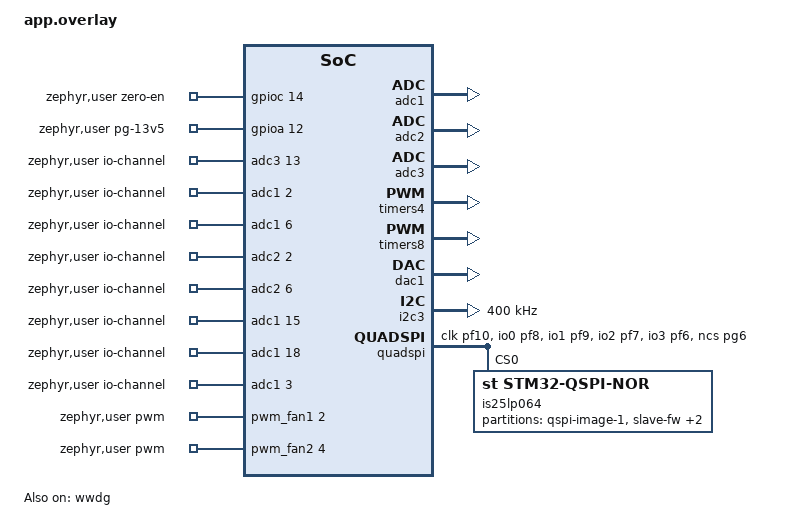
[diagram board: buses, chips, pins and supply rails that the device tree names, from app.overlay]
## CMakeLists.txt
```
cmake_minimum_required(VERSION 3.20.0)

# Custom board target (cioszhong_psu) lives in <app>/boards — register the
# application directory as a board root so
#   west build -b cioszhong_psu/stm32h745xx/m7
# finds it without passing -DBOARD_ROOT manually. A user-provided
# -DBOARD_ROOT on the command line still takes precedence.
if(NOT DEFINED BOARD_ROOT)
	set(BOARD_ROOT ${CMAKE_CURRENT_SOURCE_DIR} CACHE STRING "Board root for custom boards")
endif()

find_package(Zephyr REQUIRED HINTS $ENV{ZEPHYR_BASE})
project(CiosZhong_psu)

# Firmware version - read from Kconfig.project so the build log can never
# disagree with the version compiled into the app (and signed into the image).
file(STRINGS "${CMAKE_CURRENT_SOURCE_DIR}/Kconfig.project" _kcfg)
set(CIOS_ZHONG_FW_VERSION "")
set(_grab FALSE)
foreach(_line IN LISTS _kcfg)
	if(_line MATCHES "^config CIOS_ZHONG_FW_VERSION")
		set(_grab TRUE)
	elseif(_grab AND _line MATCHES "^[ \t]*default[ \t]+\"([^\"]+)\"")
		set(CIOS_ZHONG_FW_VERSION "${CMAKE_MATCH_1}")
		break()
	endif()
endforeach()
if(CIOS_ZHONG_FW_VERSION STREQUAL "")
	message(FATAL_ERROR "cannot read CIOS_ZHONG_FW_VERSION from Kconfig.project")
endif()
message(STATUS "Firmware version: ${CIOS_ZHONG_FW_VERSION}")

# Application modules
add_subdirectory(src/main)
add_subdirectory(src/state_machine)
add_subdirectory(src/sensor)
add_subdirectory(src/terminal)
add_subdirectory(src/ac_meter)
add_subdirectory(src/scheduler)
add_subdirectory(src/external)
add_subdirectory(src/candriver)
add_subdirectory(src/objdic)
add_subdirectory(src/canopen)

# Board support package (hardware driver wrappers)
add_subdirectory(src/bsp ${CMAKE_CURRENT_BINARY_DIR}/bsp)

# Application modules
add_subdirectory(src/indicator)
```

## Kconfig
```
# CiosZhong Application Kconfig — Zephyr base + project options
source "Kconfig.zephyr"
rsource "Kconfig.project"
```

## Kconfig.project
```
# cios-zhong — project-specific configuration options

config CIOS_ZHONG_FW_VERSION
	string "Firmware version"
	default "0.3.0"
	help
	  Firmware version string in MAJOR.MINOR.PATCH format.
	  Displayed on boot and available via status queries.

config CIOS_ZHONG_BOOT_VERSION
	string "Bootloader (MCUboot) version"
	default "1.0.0"
	help
	  Version string of the MCUboot bootloader this firmware is released
	  with. Displayed on boot and available via the 'info' command so the
	  boot/app pair on a board can be identified at a glance.

config CIOS_ZHONG_BRINGUP
	bool "Minimal bring-up test (LED blink only, watchdogs disabled)"
	default y
	help
	  When enabled, main() only initializes GPIO/LEDs and blinks them,
	  disabling the state machine, WWDG and other subsystems so a fresh
	  board can be verified without the risk of watchdog deadlock.
	  Set to n for the full PSU application.

config CIOS_ZHONG_CANOPEN_NODE_ID
	int "CANopen node ID"
	range 1 127
	default 1
	help
	  CANopen 节点号（1..127）。0 保留给广播，128..255 非法。
	  由 getNodeId() 提供给协议栈（application/src/main/usr_301.c）。
```

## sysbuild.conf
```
# CiosZhong — sysbuild configuration (no MCUboot bootloader)
```

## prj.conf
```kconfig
# CiosZhong PSU — minimal application configuration (no MCUboot, no Ethernet)
# Booted by MCUboot from slot0; image is signed and has the MCUboot header
CONFIG_BOOTLOADER_MCUBOOT=y
# Full application mode (LED blink bring-up is disabled):
#   CONFIG_CIOS_ZHONG_BRINGUP=n restores state machine / sensors / uart_cmd
CONFIG_CIOS_ZHONG_BRINGUP=n
CONFIG_CONSOLE=y
CONFIG_SERIAL=y
CONFIG_PRINTK=y
# Interrupt-driven UART - required by the uart_cmd host command service
CONFIG_UART_INTERRUPT_DRIVEN=y
CONFIG_FLASH=y
CONFIG_FLASH_MAP=y
CONFIG_REBOOT=y
CONFIG_STM32H7_BOOT_M4_AT_INIT=n
CONFIG_INIT_ARCH_HW_AT_BOOT=y
CONFIG_HEAP_MEM_POOL_SIZE=32768
# Keep caches disabled — soc_early_init_hook() enables them but
# without MPU configured yet, Cortex-M7 D-Cache causes boot crash
CONFIG_ICACHE=n
CONFIG_DCACHE=n
CONFIG_MAIN_STACK_SIZE=32768
CONFIG_SYSTEM_WORKQUEUE_STACK_SIZE=4096

# ================= CAN bus / CANopen =================
# CANopen 协议栈(canopen/ + candriver/ + objdic/)随应用一起编译，但默认不启动
# —— 板上没有 CAN 收发器；接上收发器后取消 main.c 里 canopenInit()/flushmbxStart() 的注释。
CONFIG_CAN=y
# CANopen 节点号 1..127（台架自检用运行时命令: can loopback / can normal）
CONFIG_CIOS_ZHONG_CANOPEN_NODE_ID=1

# ================= Networking (Ethernet, basic ping) =================
# Ethernet MAC + RMII PHY (see board dts: &mac / &mdio). The board answers
# ICMP echo requests (ICMPv4 is compiled with NET_IPV4).
CONFIG_NETWORKING=y
CONFIG_NET_IPV4=y
CONFIG_NET_L2_ETHERNET=y
CONFIG_NET_STATISTICS=y
CONFIG_NET_LOG=y
# Static IPv4 for bench bring-up (change to your subnet, or enable DHCP)
# AUTO_INIT is OFF: net_config_init_app() runs at the APPLICATION init level
# (before main) and waits up to INIT_TIMEOUT for the iface to come up, which
# blocks boot and trips the external watchdog while Ethernet is being brought
# up. Re-enable once the link works, or bring the IP up from main().
CONFIG_NET_CONFIG_SETTINGS=y
CONFIG_NET_CONFIG_AUTO_INIT=n
CONFIG_NET_CONFIG_MY_IPV4_ADDR="192.168.1.100"
CONFIG_NET_CONFIG_MY_IPV4_NETMASK="255.255.255.0"
CONFIG_NET_CONFIG_MY_IPV4_GW="192.168.1.1"
# Network buffers
CONFIG_NET_PKT_RX_COUNT=16
CONFIG_NET_PKT_TX_COUNT=16
CONFIG_NET_BUF_RX_COUNT=32
CONFIG_NET_BUF_TX_COUNT=32
CONFIG_NET_MAX_CONTEXTS=10
# Entropy source (STM32 RNG) - used by sys_rand_get() for IPv6 / MAC setup
CONFIG_ENTROPY_GENERATOR=y

# GPIO (LED control)
CONFIG_GPIO=y

# NOTE: Zephyr 4.x GPIO callback/EXTI API (gpio_pin_interrupt_configure_dt,
# gpio_add_callback) is always compiled in — no CONFIG_GPIO_INTERRUPT symbol.
# The zero_en zero-crossing input (acmeter) uses it directly.


# Watchdog
CONFIG_WATCHDOG=y

# PWM (fan control)
CONFIG_PWM=y

# ADC (analog inputs)
CONFIG_ADC=y

# DAC (analog outputs)
CONFIG_DAC=y

# JSON
CONFIG_JSON_LIBRARY=y

# Logging
CONFIG_LOG=y

# ================= I2C drivers =================
# TMP75 temperature sensor on I2C1; I2C3 hosts the TPS25762 (host iface TBD)
CONFIG_I2C=y

# DFU: provides boot_request_upgrade() (MCUboot swap request)
CONFIG_MCUBOOT_IMG_MANAGER=y

# STREAM_FLASH: required by IMG_MANAGER
CONFIG_STREAM_FLASH=y
CONFIG_IMG_MANAGER=y
```

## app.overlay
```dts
/ {
	chosen {
		zephyr,code-partition = &slot0_partition;
	};

	aliases {
		watchdog0 = &wwdg;
	};

	/* DIO configuration (per pin_config.xlsx).
	 * The DOUT/DIN index of each pin IS its reg value — bsp_dio.h derives
	 * DOUT_xxx/DIN_xxx from these labels, and bsp_dio.c builds its spec array
	 * keyed by reg. reg must stay dense 0..N-1 (the DOUT bitmap splits at
	 * bit 32 and spec[i] == reg i). Insert a pin → renumber reg here only. */
	dout_config: dout_config {
		compatible = "cios-zhong,dout";
		#address-cells = <1>;
		#size-cells = <0>;

		/* 0-3: enable / power */
		trolley_enable_drv:    trolley_enable_drv@0     { reg = < 0>; gpios = <&gpioh  1 GPIO_ACTIVE_HIGH>; };   /* H1   */
		wdi:                   wdi@1                    { reg = < 1>; gpios = <&gpioh  9 GPIO_ACTIVE_HIGH>; };   /* H9   */
		/* 2: former pg_13v5 (PA12) is an input now; keep the hole so the
		 *    remaining DOUT indices stay stable. */
		k13_en:                k13_en@3                 { reg = < 3>; gpios = <&gpiob  6 GPIO_ACTIVE_HIGH>; };   /* B6   */
		/* 4-6: former PC8-10 tri-color LEDs moved to bsp_led; keep the holes so
		 *      the remaining DOUT indices stay stable. */
		/* 7-16 + 35/36: panel LED indicators (see below). Active low. */
		led_pwr_24_on:         led_pwr_24_on@7          { reg = < 7>; gpios = <&gpiod  0 GPIO_ACTIVE_LOW>; };   /* D0   */
		led_cp_24v_on:        led_cp_24v_on@8         { reg = < 8>; gpios = <&gpiod  1 GPIO_ACTIVE_LOW>; };   /* D1   */
		led_grid_pwr_in:       led_grid_pwr_in@9        { reg = < 9>; gpios = <&gpiod  2 GPIO_ACTIVE_LOW>; };   /* D2   */
		led_ups_in:            led_ups_in@10            { reg = <10>; gpios = <&gpiod  3 GPIO_ACTIVE_LOW>; };   /* D3   */
		led_system_on:         led_system_on@11         { reg = <11>; gpios = <&gpiod  4 GPIO_ACTIVE_LOW>; };   /* D4   */
		led_s2_solo_sys:       led_s2_solo_sys@12       { reg = <12>; gpios = <&gpiod  5 GPIO_ACTIVE_LOW>; };   /* D5   */
		led_trolley_connected: led_trolley_connected@13 { reg = <13>; gpios = <&gpiod  6 GPIO_ACTIVE_LOW>; };   /* D6   */
		led_is_pc_on:          led_is_pc_on@14          { reg = <14>; gpios = <&gpiod  7 GPIO_ACTIVE_LOW>; };   /* D7   */
		led_s2_sys_on:         led_s2_sys_on@15         { reg = <15>; gpios = <&gpiod 10 GPIO_ACTIVE_LOW>; };   /* D10  */
		led_app_host_on:       led_app_host_on@16       { reg = <16>; gpios = <&gpiod 12 GPIO_ACTIVE_LOW>; };   /* D12  */
		/* 35: S1 system LED (PD9) */
		led_s1_sys_on:         led_s1_sys_on@35         { reg = <35>; gpios = <&gpiod  9 GPIO_ACTIVE_LOW>; };   /* D9   */
		/* 36: PAC 230V LED (PD8; USART3 disabled) */
		led_pac230v_on:        led_pac230v_on@36        { reg = <36>; gpios = <&gpiod  8 GPIO_ACTIVE_LOW>; };   /* D8   */
		/* 17-28: relay / power drivers (K2..K13) */
		k5_drv:                k5_drv@17                { reg = <17>; gpios = <&gpioi  4 GPIO_ACTIVE_HIGH>; };   /* I4   */
		k6_drv:                k6_drv@18                { reg = <18>; gpios = <&gpioi  5 GPIO_ACTIVE_HIGH>; };   /* I5   */
		k3_drv:                k3_drv@19                { reg = <19>; gpios = <&gpioi  6 GPIO_ACTIVE_HIGH>; };   /* I6   */
		k2_drv:                k2_drv@20                { reg = <20>; gpios = <&gpioi  7 GPIO_ACTIVE_HIGH>; };   /* I7   */
		k4_drv:                k4_drv@21                { reg = <21>; gpios = <&gpioi  8 GPIO_ACTIVE_HIGH>; };   /* I8   */
		k7_drv:                k7_drv@22                { reg = <22>; gpios = <&gpioi  9 GPIO_ACTIVE_HIGH>; };   /* I9   */
		k10_en:                k10_en@23                { reg = <23>; gpios = <&gpioi 10 GPIO_ACTIVE_HIGH>; };   /* I10  */
		k11_en:                k11_en@24                { reg = <24>; gpios = <&gpioi 11 GPIO_ACTIVE_HIGH>; };   /* I11  */
		k12_en:                k12_en@25                { reg = <25>; gpios = <&gpioi 12 GPIO_ACTIVE_HIGH>; };   /* I12  */
		k8_1_en:               k8_1_en@26               { reg = <26>; gpios = <&gpioi 13 GPIO_ACTIVE_HIGH>; };   /* I13  */
		k8_2_en:               k8_2_en@27               { reg = <27>; gpios = <&gpioi 14 GPIO_ACTIVE_HIGH>; };   /* I14  */
		k9_en:                 k9_en@28                 { reg = <28>; gpios = <&gpioi 15 GPIO_ACTIVE_HIGH>; };   /* I15  */
		/* 29-32: status output drivers */
		drv_is_pc_site_on:     drv_is_pc_site_on@29     { reg = <29>; gpios = <&gpioj 11 GPIO_ACTIVE_HIGH>; };   /* J11  */
		drv_app_host_site_on:  drv_app_host_site_on@30  { reg = <30>; gpios = <&gpioj 12 GPIO_ACTIVE_HIGH>; };   /* J12  */
		mains_connected_is_pc: mains_connected_is_pc@31 { reg = <31>; gpios = <&gpioj 13 GPIO_ACTIVE_HIGH>; };   /* J13  */
		mains_connected_mcu:   mains_connected_mcu@32   { reg = <32>; gpios = <&gpioj 14 GPIO_ACTIVE_HIGH>; };   /* J14  */
		/* 33-34: trolley connected status outputs (former DIN PD13/PD14) */
		trl_mu_connected_mcu:  trl_mu_connected_mcu@33  { reg = <33>; gpios = <&gpiod 13 GPIO_ACTIVE_HIGH>; };   /* D13  */
		trl_mu_connected_is_pc: trl_mu_connected_is_pc@34 { reg = <34>; gpios = <&gpiod 14 GPIO_ACTIVE_HIGH>; }; /* D14  */
	};

	din_config: din_config {
		compatible = "cios-zhong,din";
		#address-cells = <1>;
		#size-cells = <0>;

		/* 0-1: status inputs */
		grid_main_relay_status: grid_main_relay_status@0  { reg = < 0>; gpios = <&gpioh  5 GPIO_ACTIVE_HIGH>; };   /* H5   */
		me_box_error:           me_box_error@1            { reg = < 1>; gpios = <&gpioh  6 GPIO_ACTIVE_HIGH>; };   /* H6   */
		/* 2-5: fault inputs (PA8-PA11), all with pull-up */
		fault0:                 fault0@2                  { reg = < 2>; gpios = <&gpioa  8 (GPIO_PULL_UP | GPIO_ACTIVE_HIGH)>; };   /* A8   */
		fault1:                 fault1@3                  { reg = < 3>; gpios = <&gpioa  9 (GPIO_PULL_UP | GPIO_ACTIVE_HIGH)>; };   /* A9   */
		fault2:                 fault2@4                  { reg = < 4>; gpios = <&gpioa 10 (GPIO_PULL_UP | GPIO_ACTIVE_HIGH)>; };   /* A10  */
		fault3:                 fault3@5                  { reg = < 5>; gpios = <&gpioa 11 (GPIO_PULL_UP | GPIO_ACTIVE_HIGH)>; };   /* A11  */
		/* 6-7: temperature alert + 24V feedback */
		temp_alert:             temp_alert@6              { reg = < 6>; gpios = <&gpiob 12 GPIO_ACTIVE_HIGH>; };   /* B12  */
		led_pwr_24_fb:          led_pwr_24_fb@7           { reg = < 7>; gpios = <&gpioc  6 GPIO_ACTIVE_HIGH>; };   /* C6   */
		/* 8-10: fault inputs (PC11-PC13) */
		fault4:                 fault4@8                  { reg = < 8>; gpios = <&gpioc 11 (GPIO_PULL_UP | GPIO_ACTIVE_HIGH)>; };   /* C11  */
		fault5:                 fault5@9                  { reg = < 9>; gpios = <&gpioc 12 (GPIO_PULL_UP | GPIO_ACTIVE_HIGH)>; };   /* C12  */
		fault6:                 fault6@10                 { reg = <10>; gpios = <&gpioc 13 (GPIO_PULL_UP | GPIO_ACTIVE_HIGH)>; };   /* C13  */
		/* 11-12: holes - former trl_mu_connected_mcu/is_pc (PD13/PD14) are DOUTs
		 *        now (dout_config reg 33/34); keep the holes for stable indices. */
		/* 13-15: system control inputs (PJ0-PJ2) */
		system_on_off:          system_on_off@13          { reg = <13>; gpios = <&gpioj  0 GPIO_ACTIVE_HIGH>; };   /* J0   */
		system_reset:           system_reset@14           { reg = <14>; gpios = <&gpioj  1 GPIO_ACTIVE_HIGH>; };   /* J1   */
		s1_system_config:       s1_system_config@15       { reg = <15>; gpios = <&gpioj  2 GPIO_ACTIVE_HIGH>; };   /* J2   */
		/* 16-23: system control inputs */
		s2_system_config:       s2_system_config@16       { reg = <16>; gpios = <&gpioj  3 GPIO_ACTIVE_HIGH>; };   /* J3   */
		solo_system_config:     solo_system_config@17     { reg = <17>; gpios = <&gpioj  4 GPIO_ACTIVE_HIGH>; };   /* J4   */
		trolley_connected:      trolley_connected@18      { reg = <18>; gpios = <&gpioj  5 GPIO_ACTIVE_HIGH>; };   /* J5   */
		app_host_on:            app_host_on@19            { reg = <19>; gpios = <&gpioj  7 GPIO_ACTIVE_HIGH>; };   /* J7   */
		smart_whs_indicate:     smart_whs_indicate@20     { reg = <20>; gpios = <&gpioj  8 GPIO_ACTIVE_HIGH>; };   /* J8   */
		drawer_indicate:        drawer_indicate@21        { reg = <21>; gpios = <&gpioj  9 GPIO_ACTIVE_HIGH>; };   /* J9   */
		smart_ctrl_whs_search:  smart_ctrl_whs_search@22  { reg = <22>; gpios = <&gpioj 10 GPIO_ACTIVE_HIGH>; };   /* J10  */
		is_pc_on:               is_pc_on@23               { reg = <23>; gpios = <&gpioj 15 GPIO_ACTIVE_HIGH>; };   /* J15  */
	};
};

/* Enable window watchdog (disabled by default in SoC DTS) */
&wwdg {
	status = "okay";
};

/* Flash partitions live in the board dts
 * (cioszhong_psu_stm32h745xx_m7.dts) so both MCUboot and the app
 * see the same boot/slot0/slot1/scratch layout. */

/* Enable ADC instances */
&adc1 {
    status = "okay";
    st,adc-clock-source = "SYNC";
    st,adc-prescaler = <4>;
};

&adc2 {
    status = "okay";
    st,adc-clock-source = "SYNC";
    st,adc-prescaler = <4>;
};

&adc3 {
    status = "okay";
    st,adc-clock-source = "SYNC";
    st,adc-prescaler = <4>;
};

/* Fan PWM pinctrl (H745 alternate functions) */
&pinctrl {
    /* fan2_pwm: TIM4_CH4 on PD15 (AF2) — auto-generated node exists */
    tim8_ch2_pj6: tim8_ch2_pj6 {
        pinmux = <STM32_PINMUX('J', 6, AF3)>;   /* fan1_pwm: TIM8_CH2 */
    };
};

/* FAN_PWM2: TIM4 CH4 on PD15 */
&timers4 {
    status = "okay";
    /* PSC=0 -> 240 MHz counter clock; 25 kHz period = 9600 counts (10% duty = 960) */
    st,prescaler = <0>;
    pwm_fan2: pwm {
        compatible = "st,stm32-pwm";
        status = "okay";
        pinctrl-0 = <&tim4_ch4_pd15>;
        pinctrl-names = "default";
    };
};

/* FAN_PWM1: TIM8 CH2 on PJ6 */
&timers8 {
    status = "okay";
    /* PSC=0 -> 240 MHz counter clock; 25 kHz period = 9600 counts (10% duty = 960) */
    st,prescaler = <0>;
    pwm_fan1: pwm {
        compatible = "st,stm32-pwm";
        status = "okay";
        pinctrl-0 = <&tim8_ch2_pj6>;
        pinctrl-names = "default";
    };
};

/* DAC1_OUT2 on PA5 — pwr_on_off control */
&dac1 {
    status = "okay";
};

/* Analog input + Fan PWM + DAC channels */
/ {
    zephyr,user {
        dac = <&dac1>;
        dac_channel_id = <2>;
        dac_resolution = <12>;

        /* AC zero-crossing input from external TL3310 comparator
         * (PC14, toggling square wave at 2x mains frequency).
         * Owned by the acmeter module for period/frequency + RMS windowing. */
        zero-en-gpios = <&gpioc 14 GPIO_ACTIVE_HIGH>;

        /* PA12 - former DOUT reg 2 (pg_13v5), now a digital input configured
         * by bsp_board. */
        pg-13v5-gpios = <&gpioa 12 GPIO_ACTIVE_HIGH>;

        io-channels =
            <&adc3 13>,   /*  0: adc_12v   — PH2     ADC3_INP13 */
            <&adc1 2>,    /*  1: adc_pdc7  — PF11    ADC1_INP2  */
            <&adc1 6>,    /*  2: adc_pdc6  — PF12    ADC1_INP6  */
            <&adc2 2>,    /*  3: adc_pdc5  — PF13    ADC2_INP2  */
            <&adc2 6>,    /*  4: adc_5v0   — PF14    ADC2_INP6  */
            <&adc1 15>,   /*  5: adc_temp1 — PA3     ADC12_INP15 */
            <&adc1 18>,   /*  6: adc_temp2 — PA4     ADC12_INP18 */
            <&adc1 3>,    /*  7: adc_pdc0  — PA6     ADC12_INP3  */
            <&adc1 0>,    /*  8: adc_pdc4  — PA0_C   ADC12_INP0  */
            <&adc1 9>,    /*  9: adc_pdc2  — PB0     ADC12_INP9  */
            <&adc1 5>,    /* 10: adc_pdc3  — PB1     ADC12_INP5  */
            <&adc3 10>,   /* 11: adc_3v3   — PC0     ADC3_INP10 */
            <&adc3 12>,   /* 12: adc_pdc1  — PC2     ADC3_INP12 */
            <&adc3 0>,    /* 13: adc_vin   — PC2_C   ADC3_INP0  */
            <&adc3 1>;    /* 14: adc_pdc0  — PC3_C   ADC3_INP1  */

        pwms =
            <&pwm_fan1 2 PWM_USEC(40) PWM_POLARITY_NORMAL>,   /* 40 us = 25 kHz fan carrier */
            <&pwm_fan2 4 PWM_USEC(40) PWM_POLARITY_NORMAL>;

        /* Boot-time duty cycle per PWM channel, in percent, in `pwms` order.
         * Must have exactly one entry per pwms entry (a build-time assert in
         * bsp_pwm.c enforces it). Every channel keeps the 25 kHz carrier that
         * `pwms` sets; only the duty is taken from here. */
        pwm-default-duty = <0 0>;
    };
};

/* ---- I2C3 (PH7=SCL / PH8=SDA) hosts the TPS25762 USB-C/PD controller ----
 * MCU is the I2C master, the TPS25762 is the slave. No device-tree child
 * node yet (host-interface driver to be added). */
&i2c3 {
    clock-frequency = <I2C_BITRATE_FAST>;
};

/* ---- External 64 Mbit QSPI NOR = IS25LP064 (ISSI, SFDP/JEDEC, 4K sectors)
 * Pins per pin_config.xlsx: PF8=io0 PF9=io1 PF7=io2 PF6=io3 PF10=clk.
 * NCS is not listed in the xlsx -> PG6 for now, to be confirmed.
 * Not present on the dev board, so a not-ready JEDEC probe is acceptable. */
&quadspi {
    pinctrl-0 = <&quadspi_clk_pf10
                 &quadspi_bk1_io0_pf8
                 &quadspi_bk1_io1_pf9
                 &quadspi_bk1_io2_pf7
                 &quadspi_bk1_io3_pf6
                 &quadspi_bk1_ncs_pg6>;
    pinctrl-names = "default";
    status = "okay";

    is25lp064: qspi-nor-flash@0 {
        compatible = "st,stm32-qspi-nor";
        reg = <0>;
        #address-cells = <1>;
        #size-cells = <1>;
        size = <DT_SIZE_M(64)>;            /* 64 Mbit = 8 MB */
        qspi-max-frequency = <50000000>;   /* part supports 133 MHz; 50 MHz here */
        spi-bus-width = <4>;
        status = "okay";

        partitions {
            compatible = "fixed-partitions";
            #address-cells = <1>;
            #size-cells = <1>;

            /* Planned partition layout (future OTA / slave distribution):
             * slot1 1M @0, slave staging 4M @0x100000,
             * storage 1M @0x500000，reserved 2M @0x600000 */
            qspi_slot1_partition: partition@0 {
                label = "qspi-image-1";
                reg = <0x000000 DT_SIZE_M(1)>;
            };
            slave_fw_staging: partition@100000 {
                label = "slave-fw";
                reg = <0x100000 DT_SIZE_M(4)>;
            };
            storage_partition: partition@500000 {
                label = "storage";
                reg = <0x500000 DT_SIZE_M(1)>;
            };
            reserved_partition: partition@600000 {
                label = "reserved";
                reg = <0x600000 DT_SIZE_M(2)>;
            };
        };
    };
};
```

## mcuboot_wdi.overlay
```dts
/*
 * mcuboot_wdi.overlay - external watchdog WDI GPIO (PH9) for MCUboot
 *
 * While MCUboot copies slot1 -> slot0 the external MAX6703A (WDI=PH9) must
 * keep being fed, otherwise its 1.6 s timeout resets the MCU mid-copy and
 * leaves slot0 half written. A custom mcuboot_watchdog_feed() toggles it.
 */
/ {
	wdi-gpio {
		compatible = "gpio-leds";
		mcuboot_wdi: mcuboot_wdi {
			gpios = <&gpioh 9 GPIO_ACTIVE_HIGH>;
			label = "MCUboot external watchdog WDI (PH9)";
		};
	};
};
```

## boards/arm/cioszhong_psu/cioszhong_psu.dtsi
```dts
/*
 * cioszhong_psu.dtsi — CiosZhong ePSU controller board (STM32H745, M7 core)
 *
 * Product-specific board definition for the ePSU power supply controller.
 * Based on the Zephyr NUCLEO-H745ZI-Q board files, adapted to the product
 * hardware (see pin_config.xlsx):
 *
 *   - HSE: PH0 = OSC_25M (25 MHz external clock, bypass mode).
 *           PH1 is used as GPIO (DOUT trolley_enable) -> no crystal on
 *           PH0/PH1, so hse-bypass is correct.
 *   - FDCAN1: PH13 (CAN1_TX) / PH14 (CAN1_RX)
 *   - FDCAN2: PB13 (CAN2_TX) / PB5  (CAN2_RX)
 *   - I2C1:   PB8 (SCL) / PB9 (SDA), WP on PB7
 *   - Console: USART1 PB14/PB15 (USART3 disabled; PD8/PD9 used as GPIO)
 *   - On-board LEDs kept for bsp_led (green PB0 / yellow PE1)
 *
 * SPDX-License-Identifier: Apache-2.0
 */

#include <st/h7/stm32h745zitx-pinctrl.dtsi>
#include <zephyr/dt-bindings/input/input-event-codes.h>

/ {
	leds: leds {
		compatible = "gpio-leds";

		/* Active low: gpio_pin_set_dt/toggle_dt apply the polarity. */
		green_led: led_1 {
			gpios = <&gpioc 10 GPIO_ACTIVE_LOW>;
			label = "Status LED green (PC10)";
		};

		yellow_led: led_2 {
			gpios = <&gpioc 8 GPIO_ACTIVE_LOW>;
			label = "Status LED yellow (PC8)";
		};

		red_led: led_3 {
			gpios = <&gpioc 9 GPIO_ACTIVE_LOW>;
			label = "Status LED red (PC9)";
		};
	};
};

/*
 * FDCAN1 RX/TX on PH14/PH13 (AF9) per product pin_config.xlsx.
 * The hal_stm32 H745 pinctrl dtsi does not ship these nodes, so define
 * them here (same pinmux as H743, same silicon).
 */
&pinctrl {
	fdcan1_rx_ph14: fdcan1_rx_ph14 {
		pinmux = <STM32_PINMUX('H', 14, AF9)>;
	};

	fdcan1_tx_ph13: fdcan1_tx_ph13 {
		pinmux = <STM32_PINMUX('H', 13, AF9)>;
	};

	/* I2C3 on PH7 (SCL) / PH8 (SDA), AF4 - identity EEPROM M24512.
	 * Not shipped in stm32h745zitx-pinctrl.dtsi, so defined here. */
	i2c3_scl_ph7: i2c3_scl_ph7 {
		pinmux = <STM32_PINMUX('H', 7, AF4)>;
		bias-pull-up;
	};

	i2c3_sda_ph8: i2c3_sda_ph8 {
		pinmux = <STM32_PINMUX('H', 8, AF4)>;
		bias-pull-up;
	};
};

&rcc {
	d1cpre = <1>;
	hpre = <2>;
	d1ppre = <2>;
	d2ppre1 = <2>;
	d2ppre2 = <2>;
	d3ppre = <2>;
};

&pwr {
	/* The product board uses an LDO power scheme (no SMPS inductor), so
	 * VCORE must be configured for LDO — smps-direct would misconfigure
	 * the internal supply and the core fails right after reset. */
	power-supply = "ldo";
};
```

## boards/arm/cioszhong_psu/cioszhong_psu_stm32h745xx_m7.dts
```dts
/*
 * cioszhong_psu_stm32h745xx_m7.dts — CiosZhong ePSU controller, CM7 core
 *
 * Clock configuration:
 *   HSE = 25 MHz external clock on PH0 (OSC_25M, bypass mode).
 *   PLL1: div-m = 5, mul-n = 192, div-p = 2
 *     VCO_in  = 25/5 = 5 MHz     (H7 PLL input range 1-16 MHz)
 *     VCO     = 5*192 = 960 MHz  (within 192-960 MHz)
 *     PLL1P   = 960/2 = 480 MHz  = SYSCLK (unchanged from NUCLEO config)
 *     PLL1Q   = 960/8 = 120 MHz  (unchanged)
 *     PLL1R   = 960/2 = 480 MHz  (unchanged)
 *
 * SPDX-License-Identifier: Apache-2.0
 */

/dts-v1/;
#include <st/h7/stm32h745Xi_m7.dtsi>
#include "cioszhong_psu.dtsi"

/ {
	model = "Siemens CiosZhong ePSU controller board";
	compatible = "siemens,cioszhong-psu";

	/* HW resources belonging to CM7 */
	chosen {
		zephyr,console = &usart1;
		zephyr,shell-uart = &usart1;
		zephyr,dtcm = &dtcm;
		zephyr,sram = &sram0;
		zephyr,flash = &flash0;
		zephyr,canbus = &fdcan1;
	};

	aliases {
		led0 = &green_led;
	};
};

/*
 * TEMP BRING-UP: use the internal HSI (64 MHz) so the firmware no longer
 * depends on the external 25 MHz clock source on PH0. Set back to HSE
 * once the board is verified. (See git history for the HSE 25 MHz config.)
 */
&clk_hsi {
	status = "okay";
};

/* HSI48: the STM32 RNG kernel clock (RNGSEL defaults to HSI48). Without it
 * the entropy driver spins forever on the RNG DRDY bit during boot. */
&clk_hsi48 {
	status = "okay";
};

&clk_hse {
	status = "disabled";
};

&pll {
	div-m = <8>;    /* HSI 64 MHz / 8 = 8 MHz VCO-in */
	mul-n = <120>;  /* VCO = 960 MHz */
	div-p = <2>;    /* SYSCLK = 480 MHz */
	div-q = <8>;    /* PLL1Q = 120 MHz */
	div-r = <2>;    /* PLL1R = 480 MHz */
	clocks = <&clk_hsi>;
	status = "okay";
};

&rcc {
	clocks = <&pll>;
	clock-frequency = <DT_FREQ_M(480)>;
};

/* USART1 on PB14(TX)/PB15(RX) is the product debug/host UART.
 * USART3 is not used on this board (PB10/PB11 are ethernet signals). */
&usart1 {
	pinctrl-0 = <&usart1_tx_pb14 &usart1_rx_pb15>;
	pinctrl-names = "default";
	current-speed = <115200>;
	status = "okay";
};

&usart3 {
	status = "disabled";
};

/* I2C1 on PB8/PB9 (TMP75 temperature sensor @0x48) */
&i2c1 {
	pinctrl-0 = <&i2c1_scl_pb8 &i2c1_sda_pb9>;
	pinctrl-names = "default";
	status = "okay";
	clock-frequency = <I2C_BITRATE_FAST>;
};

/* I2C3 on PH7/PH8 (identity EEPROM M24512 @0x50, WP tied to GND) */
&i2c3 {
	pinctrl-0 = <&i2c3_scl_ph7 &i2c3_sda_ph8>;
	pinctrl-names = "default";
	status = "okay";
	clock-frequency = <I2C_BITRATE_FAST>;
};

/*
 * CAN per product pin_config.xlsx / 实测接线：
 *   CAN2: PB13 (can2_tx) / PB5  (can2_rx)   -> FDCAN2  ← 产品实际使用的这路
 *   CAN1: PH13 (can1_tx) / PH14 (can1_rx)   -> FDCAN1  ← 当前使用(zephyr,canbus)
 *
 * 注意：本板没有外部晶振（&clk_hse status = disabled），而 H7 的
 * D2CCIP1R.FDCANSEL 复位默认是 HSE → 控制器会拿不到内核时钟、
 * can_start() 返回 -EAGAIN。内核时钟切到 PLL1Q 的动作在
 * application/src/main/main.c 的 canopenInit() 里用 LL_RCC 完成
 * （Zephyr 的 H7 时钟驱动不会写这个 mux）。
 */
&fdcan1 {
	clocks = <&rcc STM32_CLOCK(APB1_2, 8)>,
		 <&rcc STM32_SRC_PLL1_Q FDCAN_SEL(1)>;
	pinctrl-0 = <&fdcan1_rx_ph14 &fdcan1_tx_ph13>;
	pinctrl-names = "default";
	status = "okay";
};

/* CAN 活动指示灯（pin_config.xlsx：CAN1 = PH15/PH12，CAN2 = PH11/PH10）。
 * 固件在发送/接收时翻转它们，台架上可直观判断总线上到底有没有动作。
 * 用自定义 compatible（无需 LED 子系统驱动），驱动里用 GPIO_DT_SPEC_GET 取用。*/
/ {
	can_activity_leds {
		/* 用标准 gpio-leds binding，这样 gpios 会被正确解析成 phandle-array；
		 * 不需要打开 CONFIG_LED —— 驱动里直接用 GPIO_DT_SPEC_GET 手动翻转。*/
		compatible = "gpio-leds";

		can2_tx_led: can2_tx_led {
			gpios = <&gpioh 11 GPIO_ACTIVE_HIGH>;
		};

		can2_rx_led: can2_rx_led {
			gpios = <&gpioh 10 GPIO_ACTIVE_HIGH>;
		};

		can1_tx_led: can1_tx_led {
			gpios = <&gpioh 15 GPIO_ACTIVE_HIGH>;
		};

		can1_rx_led: can1_rx_led {
			gpios = <&gpioh 12 GPIO_ACTIVE_HIGH>;
		};
	};
};

&fdcan2 {
	/* 本板实际接线在 CAN1(PH13/PH14)；CAN2 保留但不启用 */
	status = "disabled";
	clocks = <&rcc STM32_CLOCK(APB1_2, 8)>,
		 <&rcc STM32_SRC_PLL1_Q FDCAN_SEL(1)>;
	pinctrl-0 = <&fdcan2_rx_pb5 &fdcan2_tx_pb13>;
	pinctrl-names = "default";
};

/* ==================== Ethernet (RMII) ====================
 * RMII pins per pin_config.xlsx:
 *   PA1 ref_clk, PA2 mdio, PA7 crs_dv, PB10 rx_er, PC1 mdc,
 *   PC4 rxd0, PC5 rxd1, PG11 tx_en, PG12 txd1, PG13 txd0.
 * PHY: MDIO address 0 (to be confirmed against the schematic). */
&mac {
	status = "okay";
	pinctrl-0 = <&eth_ref_clk_pa1
		     &eth_crs_dv_pa7
		     &eth_rx_er_pb10
		     &eth_rxd0_pc4
		     &eth_rxd1_pc5
		     &eth_tx_en_pg11
		     &eth_txd0_pg13
		     &eth_txd1_pg12>;
	pinctrl-names = "default";
	phy-connection-type = "rmii";
	phy-handle = <&eth_phy>;
};

&mdio {
	status = "okay";
	pinctrl-0 = <&eth_mdio_pa2 &eth_mdc_pc1>;
	pinctrl-names = "default";

	eth_phy: ethernet-phy@0 {
		compatible = "ethernet-phy";
		reg = <0x00>;
	};
};

/* RNG: provides entropy for sys_rand_get() (IPv6 / MAC randomisation) */
&rng {
	status = "okay";
};

/* ==================== MCUboot dual-slot flash layout ====================
 * Mirrors the WORKING Ethernet-upgrade reference project (ciosZhong_ePSU
 * @ zephyrproject/build_epsu, nucleo_h745zi_q): flash0 is declared as ONE
 * contiguous 2 MB device covering bank1 (0x08000000) + bank2 (0x08100000).
 * A separate flash1 device is NEVER created. Reg offsets are relative to
 * 0x08000000:
 *   boot    128KB @ 0x00000000  (MCUboot)
 *   slot0   512KB @ 0x00020000  (primary app image)
 *   slot1   512KB @ 0x00100000  (secondary / DFU staging image, on bank2)
 * Upgrade mode: SWAP_USING_OFFSET — no scratch partition required.
 * Defined here so both the MCUboot bootloader build and the app build
 * agree on the layout. */
&flash0 {
	reg = <0x08000000 DT_SIZE_M(2)>;
	ranges = <0 0x08000000 DT_SIZE_M(2)>;

	partitions {
		compatible = "fixed-partitions";
		#address-cells = <1>;
		#size-cells = <1>;

		boot_partition: partition@0 {
			label = "mcuboot";
			reg = <0x00000000 DT_SIZE_K(128)>;
			read-only;
		};

		slot0_partition: partition@20000 {
			label = "image-0";
			reg = <0x00020000 DT_SIZE_K(512)>;
		};

		slot1_partition: partition@100000 {
			label = "image-1";
			reg = <0x00100000 DT_SIZE_K(512)>;
		};
	};
};
```

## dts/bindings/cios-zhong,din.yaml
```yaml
# cios-zhong digital input binding
#
# Custom compatible because these are industrial switch/status inputs
# — not key/button inputs (gpio-keys expects zephyr,code events).

description: cios-zhong DIN configuration node
compatible: "cios-zhong,din"

child-binding:
    description: Single DIN pin (switch / status / fault input)
    properties:
        reg:
            type: array
            description: DIN index (must stay dense 0..N-1)
            required: true
        gpios:
            type: phandle-array
            required: true
```

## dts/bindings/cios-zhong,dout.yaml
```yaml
# cios-zhong digital output binding
#
# Custom compatible because these are industrial relay/power drivers
# and status outputs — not LEDs (gpio-leds expects label/color properties).

description: cios-zhong DOUT configuration node
compatible: "cios-zhong,dout"

child-binding:
    description: Single DOUT pin (relay / LED indicator / status driver)
    properties:
        reg:
            type: array
            description: DOUT index (must stay dense 0..N-1 — the DOUT bitmap splits at bit 32)
            required: true
        gpios:
            type: phandle-array
            required: true
```

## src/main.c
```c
#include <zephyr/kernel.h>
#include "../hal/hal_debug.h"

#include <errno.h>
#include <string.h>

#include "../hal/hal_board.h"
#include "../hal/hal_adc.h"
#include "../hal/hal_gpio.h"
#include "../hal/hal_gpio.h"
#include "../hal/hal_wdt.h"
#include "psu_sm.h"

/*
 * cios-zhong periodic task schedule (Zephyr-native):
 *
 *  Thread  (1 ms):  psu_sm_tick() + hal_wdt_feed()
 *  Work   (10 ms):  hal_gpio_out_mirror_inputs()    — status output mirroring
 *  Work   (50 ms):  hal_adc_poll()       — 14 ADC channels
 *  Timer  (500 ms): NUCLEO LED toggle  — heartbeat
 *  Work   (500 ms): hal_wdi_feed()       — MAX6703A external watchdog
 *  Work   (3000 ms):status printk      — state + error + alive counter
 *
 *  DIN polling (1 ms) runs via k_timer in bspDioInit (unchanged).
 */

/* ========== 1 ms core thread: state machine + internal WDT ========== */

#define SM_THREAD_STACK_SZ  2048
#define SM_THREAD_PRIO      2    /* high priority for precise 1ms timing */

static struct k_thread sm_thread;
K_THREAD_STACK_DEFINE(sm_stack, SM_THREAD_STACK_SZ);

static void sm_thread_fn(void *p1, void *p2, void *p3)
{
	while (1) {
		psu_sm_tick();
		hal_wdt_feed();
		k_sleep(K_MSEC(1));
	}
}

/* ========== Periodic work items (self-rescheduling) ========== */

static void dout_work_fn(struct k_work *w)
{
	hal_gpio_out_mirror_inputs();
	k_work_schedule(k_work_delayable_from_work(w), K_MSEC(10));
}

static void ain_work_fn(struct k_work *w)
{
	hal_adc_poll();
	k_work_schedule(k_work_delayable_from_work(w), K_MSEC(50));
}

static void wdi_work_fn(struct k_work *w)
{
	hal_wdi_feed();
	k_work_schedule(k_work_delayable_from_work(w), K_MSEC(500));
}

static void status_work_fn(struct k_work *w)
{
	static const char *const state_names[] = {
		[PSU_STATE_INIT]          = "INIT",
		[PSU_STATE_SYS_ON]        = "SYS_ON",
		[PSU_STATE_PILOT_CONTACT] = "PILOT",
		[PSU_STATE_SWITCH_ON]     = "SW_ON",
		[PSU_STATE_NORMAL_OP]     = "NORMAL",
		[PSU_STATE_S2_MODE]       = "S2",
		[PSU_STATE_CHARGING]      = "CHARGE",
		[PSU_STATE_SHUTDOWN]      = "SHTDWN",
		[PSU_STATE_FAULT]         = "FAULT",
		[PSU_STATE_RESET]         = "RESET",
		[PSU_STATE_OFF]           = "OFF",
	};
	psu_state_t s = psu_sm_get_state();
	hal_log("PSU [%s] err=%s\n",
	       (s < ARRAY_SIZE(state_names)) ? state_names[s] : "?",
	       psu_sm_get_error_str(psu_sm_get_error()));

	k_work_schedule(k_work_delayable_from_work(w), K_MSEC(3000));
}

static K_WORK_DELAYABLE_DEFINE(dout_work,   dout_work_fn);
static K_WORK_DELAYABLE_DEFINE(ain_work,    ain_work_fn);
static K_WORK_DELAYABLE_DEFINE(wdi_work,    wdi_work_fn);
static K_WORK_DELAYABLE_DEFINE(status_work, status_work_fn);

/* ========== NUCLEO LED heartbeat (k_timer) ========== */

static void led_timer_fn(struct k_timer *timer)
{
	hal_led_toggle(HAL_LED_YELLOW);
}

K_TIMER_DEFINE(led_timer, led_timer_fn, NULL);

/* ========== Main: init only, no while(1) ========== */

int main(void)
{
	hal_log("\n===== CiosZhong Application v%s =====\n", BUILD_VERSION);

	hal_board_init();
	psu_sm_init();
	hal_wdt_init();

	/* 1 ms core loop thread */
	k_thread_create(&sm_thread, sm_stack,
			K_THREAD_STACK_SIZEOF(sm_stack),
			sm_thread_fn, NULL, NULL, NULL,
			SM_THREAD_PRIO, 0, K_NO_WAIT);

	/* Heartbeat LED */
	k_timer_start(&led_timer, K_MSEC(100), K_MSEC(500));

	/* Periodic work items — each self-reschedules on completion */
	k_work_schedule(&dout_work,   K_MSEC(10));
	k_work_schedule(&ain_work,    K_MSEC(50));
	k_work_schedule(&wdi_work,    K_MSEC(500));
	k_work_schedule(&status_work, K_MSEC(3000));

	return 0;
}
```
